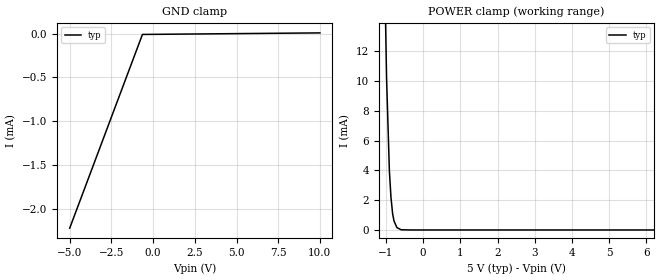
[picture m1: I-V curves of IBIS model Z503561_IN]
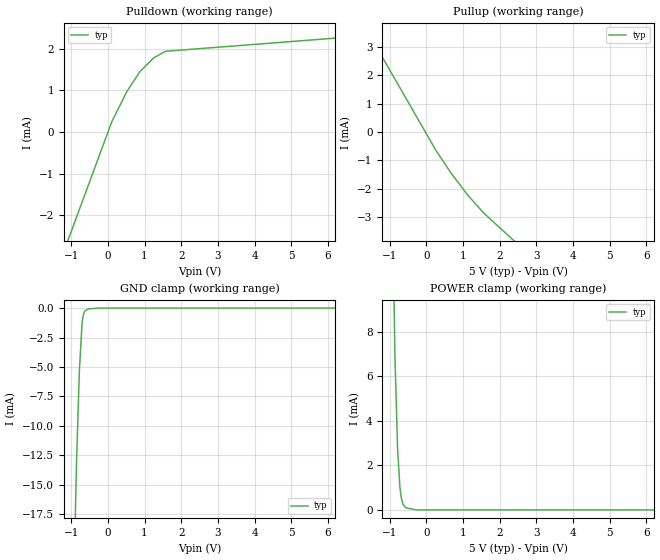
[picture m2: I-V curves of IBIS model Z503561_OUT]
| YOU ARE ONLY AUTHORIZED TO USE THIS SOFTWARE
| ACCORDING TO LICENSOR'S LICENSE RESTRICTIONS.
[IBIS Ver] 3.1
[File Name] mc14073bcl.ibs
[File Rev] 2.0
[Source] Measured and created by ICX Technology
[Date] Friday 7/14/00 9:07:53 AM
[Copyright]
| (C) COPYRIGHT 1993-2000
| MENTOR GRAPHICS CORPORATION
| ICX STANDARD LIBRARY, ICX PROJECT MODELING,
| ICX CUSTOM MODELING, ICX VENDOR MODEL
| ALL RIGHTS RESERVED.
| THE FOLLOWING ARE TRADEMARKS OR SERVICE MARKS OF
| MENTOR GRAPHICS CORPORATION:ICX (R), ICX STANDARD
| LIBRARY(R), ICX PROJECT MODELING(R), ICX CUSTOM
| MODELING(R), qualityIBIS(TM), MODELVIEWER(TM),
| AND MODELEDITOR(TM)
| ALL COPIES OF SOFTWARE, INCLUDING BUT NOT LIMITED TO
| ANY MODIFICATIONS, ENHANCEMENTS OR DERIVATIVE WORKS,
| MUST CONTAIN ALL MENTOR GRAPHICS CORPORATION'S
| NOTICES AND LEGENDS, INCLUDING THOSE EMBEDDED IN
| SOFTWARE AND THOSE AFFIXED TO SOFTWARE MEDIUM
| AND CONTAINER, AS RECEIVED FROM MENTOR GRAPHICS
| CORPORATION.
|  ZAP Model Builder 2.7
[Component] MC14073BCL
[Manufacturer] OnSemiconductor
[Package]
| variable   typ   min   max
R_pkg  .21ohms NA NA
L_pkg  4.543nH NA NA
C_pkg  1.8pF NA NA
[Pin] signal_name  model_name  R_pin  L_pin C_pin
1 IN1A Z503561_IN .22 6.757n 2.434p
2 IN2A Z503561_IN .212 4.757n 1.941p
3 IN1B Z503561_IN .204 3.257n 1.448p
4 IN2B Z503561_IN .196 2.257n .955p
5 IN3B Z503561_IN .204 3.257n 1.448p
6 OUTB Z503561_OUT .212 4.757n 1.941p
7 VSS POWER .22 6.757n 2.434p
8 IN3A Z503561_IN .22 6.757n 2.434p
9 OUTA Z503561_OUT .212 4.757n 1.941p
10 OUTC Z503561_OUT .204 3.257n 1.448p
11 IN1C Z503561_IN .196 2.257n .955p
12 IN2C Z503561_IN .204 3.257n 1.448p
13 IN3C Z503561_IN .212 4.757n 1.941p
14 VDD POWER .22 6.757n 2.434p
| Models and submodels in the file (2): Z503561_IN (Input), Z503561_OUT (Output)
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| (C) COPYRIGHT 1993-2000
| MENTOR GRAPHICS CORPORATION
| ICX STANDARD LIBRARY, ICX PROJECT MODELING,
| ICX CUSTOM MODELING, ICX VENDOR MODEL
| ALL RIGHTS RESERVED.
| THE FOLLOWING ARE TRADEMARKS OR SERVICE MARKS OF
| MENTOR GRAPHICS CORPORATION:ICX (R), ICX STANDARD
| LIBRARY(R), ICX PROJECT MODELING(R), ICX CUSTOM
| MODELING(R), qualityIBIS(TM), MODELVIEWER(TM),
| AND MODELEDITOR(TM)
| ALL COPIES OF SOFTWARE, INCLUDING BUT NOT LIMITED TO
| ANY MODIFICATIONS, ENHANCEMENTS OR DERIVATIVE WORKS,
| MUST CONTAIN ALL MENTOR GRAPHICS CORPORATION'S
| NOTICES AND LEGENDS, INCLUDING THOSE EMBEDDED IN
| SOFTWARE AND THOSE AFFIXED TO SOFTWARE MEDIUM
| AND CONTAINER, AS RECEIVED FROM MENTOR GRAPHICS
| CORPORATION.
| Model Application Version 1.89 2/18/99.
[Model] Z503561_IN
Model_type Input
Vinl = 1.500V
Vinh = 3.500V
C_comp 4.000pF NA NA
| variable typ   min   max
[Voltage Range] 5.000V NA NA
[GND Clamp Reference] 0.000V NA NA
[POWER Clamp Reference] 5.000V NA NA
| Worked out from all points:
|   POWER clamp passes 1 mA (typ) near -0.81 V on its own axis
[GND Clamp]
-5V       -2.22mA    NA         NA
-639.5mV  -10.3uA    NA         NA
10V       7.371uA    NA         NA
[POWER Clamp]
-5V       580.8mA    NA         NA
-985mV    10.27mA    NA         NA
-908mV    3.939mA    NA         NA
-866mV    2.192mA    NA         NA
-820mV    1.067mA    NA         NA
-784mV    605.6uA    NA         NA
-707mV    162.3uA    NA         NA
-591mV    11.75uA    NA         NA
-295.5mV  0A         NA         NA
10V       0A         NA         NA
| (C) COPYRIGHT 1993-2000
| MENTOR GRAPHICS CORPORATION
| ICX STANDARD LIBRARY, ICX PROJECT MODELING,
| ICX CUSTOM MODELING, ICX VENDOR MODEL
| ALL RIGHTS RESERVED.
| THE FOLLOWING ARE TRADEMARKS OR SERVICE MARKS OF
| MENTOR GRAPHICS CORPORATION:ICX (R), ICX STANDARD
| LIBRARY(R), ICX PROJECT MODELING(R), ICX CUSTOM
| MODELING(R), qualityIBIS(TM), MODELVIEWER(TM),
| AND MODELEDITOR(TM)
| ALL COPIES OF SOFTWARE, INCLUDING BUT NOT LIMITED TO
| ANY MODIFICATIONS, ENHANCEMENTS OR DERIVATIVE WORKS,
| MUST CONTAIN ALL MENTOR GRAPHICS CORPORATION'S
| NOTICES AND LEGENDS, INCLUDING THOSE EMBEDDED IN
| SOFTWARE AND THOSE AFFIXED TO SOFTWARE MEDIUM
| AND CONTAINER, AS RECEIVED FROM MENTOR GRAPHICS
| CORPORATION.
| Model Application Version 1.89 2/18/99.
[Model] Z503561_OUT
Model_type Output
Vref=0.000V
Rref=500.0Mohms
Cref=50.00pF
Vmeas=2.500V
C_comp 8.000pF NA NA
| variable typ   min   max
[Voltage Range] 5.000V NA NA
[POWER Clamp Reference] 5.000V NA NA
[Pullup Reference] 5.000V NA NA
[Pulldown Reference] 0.000V NA NA
[GND Clamp Reference] 0.000V NA NA
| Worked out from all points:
|   slope of the pulldown table from 0 to 0.75 V, typ, clamps not added: 580 ohm
|   slope of the pullup table from 0 to 0.75 V, typ, clamps not added: 493 ohm
|   GND clamp passes 1 mA (typ) near -0.69 V on its own axis
|   POWER clamp passes 1 mA (typ) near -0.72 V on its own axis
[GND Clamp]
-5V       -597.7mA   NA         NA
-854.4mV  -13.17mA   NA         NA
-775.4mV  -5.271mA   NA         NA
-700.8mV  -1.198mA   NA         NA
-664.1mV  -541.1uA   NA         NA
-628.9mV  -253uA     NA         NA
-536.8mV  -77.51uA   NA         NA
-268.4mV  0A         NA         NA
10V       0A         NA         NA
[Pulldown]
-5V       -11.93mA   NA         NA
105mV     239.2uA    NA         NA
517.5mV   970.8uA    NA         NA
869.5mV   1.442mA    NA         NA
1.247V    1.777mA    NA         NA
1.567V    1.938mA    NA         NA
10V       2.514mA    NA         NA
[Pullup]
-5V       11.21mA    NA         NA
259mV     -644.7uA   NA         NA
669mV     -1.443mA   NA         NA
1.123V    -2.219mA   NA         NA
1.554V    -2.847mA   NA         NA
10V       -12.88mA   NA         NA
[POWER Clamp]
-5V       452.9mA    NA         NA
-859mV    6.965mA    NA         NA
-786mV    2.767mA    NA         NA
-723mV    1.023mA    NA         NA
-688mV    564.6uA    NA         NA
-635mV    229uA      NA         NA
-559mV    92.31uA    NA         NA
-279.5mV  0A         NA         NA
10V       0A         NA         NA
[Ramp]
| variable typ min max
dV/dt_r 2.514/16.50n NA NA
dV/dt_f 2.514/13.30n NA NA
R_load = 2.500kOhms
